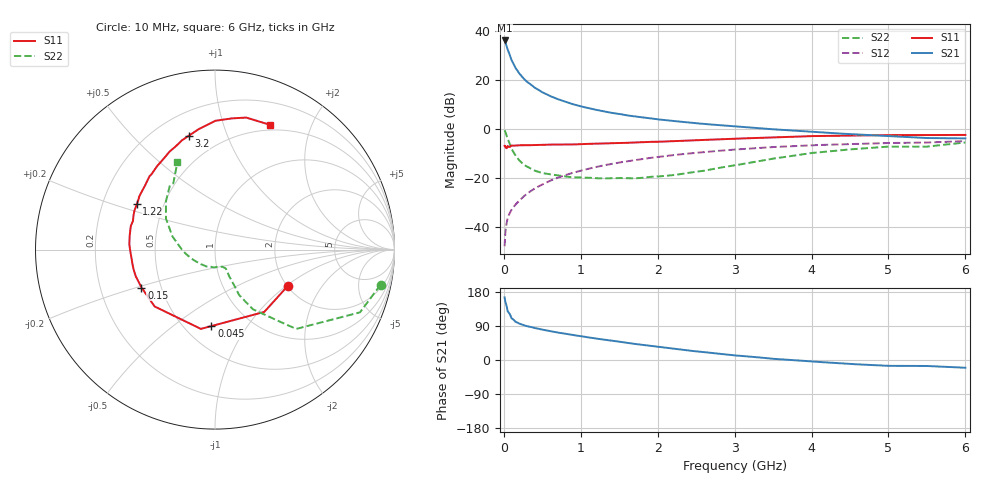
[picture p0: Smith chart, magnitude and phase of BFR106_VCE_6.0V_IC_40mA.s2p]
! Infineon Technologies  Discrete & RF Semiconductors
! BFR106
! VCE =  6.0 V,  IC =  40 mA
! Common Emitter S-Parameters:  Nov 2015
# GHz  S  MA  R  50
!  f  S11  S21  S12  S22
! GHz  MAG  ANG  MAG  ANG  MAG  ANG  MAG  ANG
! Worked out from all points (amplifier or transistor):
!   210 points, 10 MHz to 6 GHz, reference 50 ohm
!   highest |S21| = 36.3 dB at 10 MHz (marker M1)
!   |S21| within 3 dB of that: start of sweep to 41.9 MHz
!   unconditionally stable (mu >= 1): 282.6 MHz to 2.194 GHz
!   at 185 MHz: K = 0.90, MSG = 26.7 dB, |S12| = -29.8 dB
!   at 1.52 GHz: K = 1.05, MAG = 8.6 dB, |S12| = -13.6 dB
!   at 6 GHz: K = 0.98, MSG = 0.5 dB, |S12| = -4.9 dB
!   S11 on the Smith chart (normalised r, x): 10 MHz: 2.00, -1.03; 45 MHz: 0.67, -0.70; 150 MHz: 0.39, -0.21; 1.22 GHz: 0.35, +0.24; 3.2 GHz: 0.34, +0.74; 6 GHz: 0.44, +1.44
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0.01  0.4526 -26.8  65.33 165.2  0.004 82.9  0.9429 -12.0
0.02  0.4427 -51.6  60.15 153.3  0.0078 74.9  0.8801 -23.4
0.045  0.4264 -92.7  44.66 134.0  0.014 62.7  0.6657 -39.9
0.05  0.4487 -100.1  42.43 128.6  0.0153 61.5  0.632 -44.4
0.1  0.4621 -136.7  25.88 110.3  0.0223 59.2  0.3936 -57.6
0.15  0.4609 -152.7  18 101.1  0.0282 61.4  0.2862 -62.0
0.2  0.4658 -161.4  13.83 96.0  0.034 65.1  0.2295 -61.8
0.26  0.467 -168.4  10.76 91.5  0.0421 66.9  0.1868 -61.9
0.3  0.4667 -172.2  9.326 89.2  0.0472 68.7  0.1708 -62.0
0.4  0.4724 -179.1  7.072 84.5  0.0604 70.3  0.1412 -60.9
0.5  0.4783 176.4  5.675 80.1  0.0731 70.9  0.1258 -59.9
0.6  0.4813 171.5  4.76 76.2  0.0871 70.7  0.1185 -61.0
0.8  0.4872 164.4  3.612 69.2  0.1141 69.2  0.1064 -65.2
1.02  0.4937 156.5  2.875 62.2  0.1433 67.3  0.1021 -71.6
1.22  0.5036 149.9  2.444 56.1  0.1699 64.9  0.0984 -80.2
1.6  0.5236 139.9  1.911 45.3  0.2185 59.9  0.0989 -99.4
2.02  0.551 129.3  1.571 34.4  0.2705 54.1  0.1076 -125.6
3.1  0.6431 104.9  1.104 10.6  0.3895 38.2  0.1922 176.9
3.2  0.6506 103.1  1.074 8.9  0.3989 36.6  0.2048 172.7
4.1  0.7208 88.4  0.861 -5.2  0.4721 23.3  0.334 144.9
5.1  0.7549 75.5  0.71 -15.5  0.5206 10.3  0.4374 124.4
6  0.7597 66.3  0.644 -20.4  0.5678 0.3  0.5326 113.1
